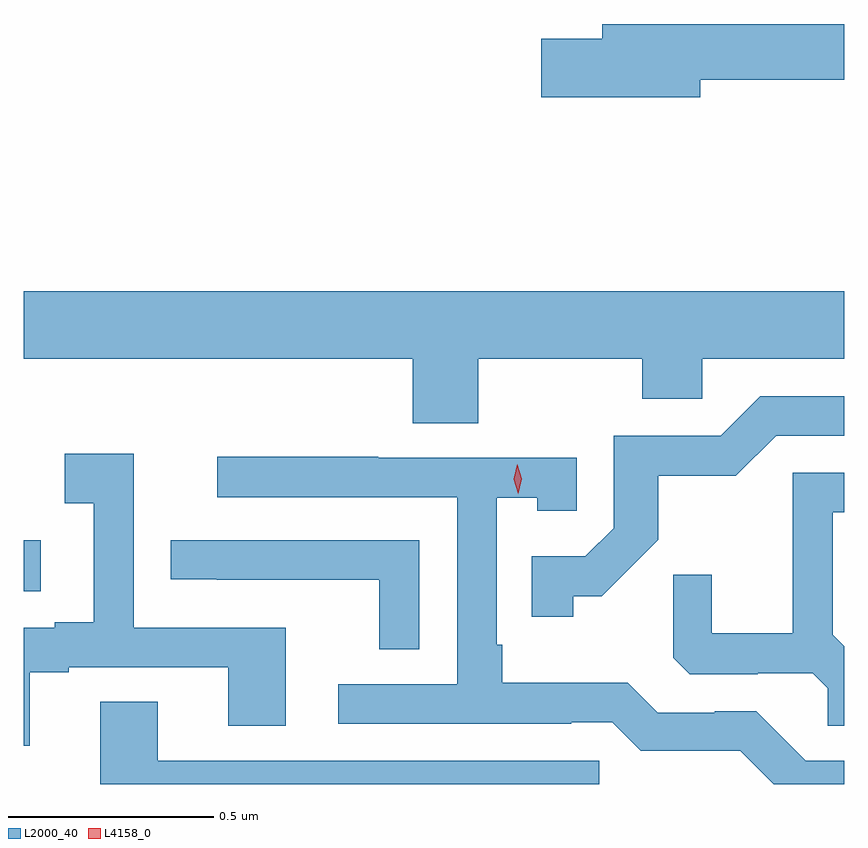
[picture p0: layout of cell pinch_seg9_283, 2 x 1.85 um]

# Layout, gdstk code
import gdstk
lib = gdstk.Library(unit=1e-6, precision=1e-09)
def R(c, l, rs):  # rectangles x0, y0, x1, y1
    for r in rs: c.add(gdstk.rectangle(r[:2], r[2:], *l))
def P(c, l, *ps):  # polygons
    for p in ps: c.add(gdstk.Polygon(p, *l))
L2000_40 = (2000, 40)
L4158_0 = (4158, 0)

pinch_seg9_283 = lib.new_cell('pinch_seg9_283')
R(pinch_seg9_283, L2000_40, [(419.597,1199.849,419.638,1199.973)])
P(pinch_seg9_283, L2000_40, [(421.246,1201.096),(421.597,1201.096),(421.597,1201.232),(421.007,1201.232),(421.007,1201.196),(420.858,1201.196),(420.858,1201.054),(421.246,1201.054)],
  [(420.705,1200.416),(421.105,1200.416),(421.105,1200.318),(421.251,1200.318),(421.251,1200.416),(421.597,1200.416),(421.597,1200.58),(419.597,1200.58),(419.597,1200.416),(420.545,1200.416),(420.545,1200.259),(420.705,1200.259)],
  [(420.936,1199.837),(421.006,1199.837),(421.144,1199.974),(421.144,1200.13),(421.333,1200.13),(421.431,1200.228),(421.597,1200.228),(421.597,1200.324),(421.392,1200.324),(421.296,1200.228),(421.035,1200.228),(421.035,1200.003),(420.966,1199.934),(420.835,1199.934),(420.835,1199.787),(420.936,1199.787)],
  [(419.611,1199.652),(419.707,1199.652),(419.707,1199.664),(420.095,1199.664),(420.095,1199.521),(420.235,1199.521),(420.235,1199.76),(419.865,1199.76),(419.865,1200.184),(419.697,1200.184),(419.697,1200.064),(419.768,1200.064),(419.768,1199.773),(419.672,1199.773),(419.672,1199.76),(419.597,1199.76),(419.597,1199.472),(419.611,1199.472)],
  [(421.597,1199.436),(421.503,1199.436),(421.383,1199.556),(421.282,1199.556),(421.282,1199.553),(421.143,1199.553),(421.07,1199.626),(420.763,1199.626),(420.763,1199.719),(420.75,1199.719),(420.75,1200.077),(420.849,1200.077),(420.849,1200.045),(420.945,1200.045),(420.945,1200.174),(420.461,1200.174),(420.461,1200.177),(420.069,1200.177),(420.069,1200.078),(420.654,1200.078),(420.654,1199.622),(420.363,1199.622),(420.363,1199.526),(420.932,1199.526),(420.932,1199.529),(421.032,1199.529),(421.101,1199.46),(421.344,1199.46),(421.425,1199.379),(421.597,1199.379)],
  [(421.597,1199.715),(421.569,1199.743),(421.569,1200.042),(421.597,1200.042),(421.597,1200.138),(421.472,1200.138),(421.472,1199.746),(421.274,1199.746),(421.274,1199.889),(421.18,1199.889),(421.18,1199.687),(421.221,1199.646),(421.386,1199.646),(421.386,1199.649),(421.52,1199.649),(421.557,1199.612),(421.557,1199.521),(421.597,1199.521)],
  [(420.561,1199.973),(419.955,1199.973),(419.955,1199.878),(420.067,1199.878),(420.067,1199.877),(420.463,1199.877),(420.463,1199.707),(420.561,1199.707)],
  [(421,1199.436),(419.923,1199.436),(419.923,1199.579),(419.783,1199.579),(419.783,1199.379),(421,1199.379)])
P(pinch_seg9_283, L4158_0, [(420.802,1200.087),(420.802,1200.087),(420.791,1200.122),(420.8,1200.159),(420.8,1200.159),(420.8,1200.159),(420.811,1200.123),(420.802,1200.087)])

lib.write_gds('pinch_seg9_283.gds')
